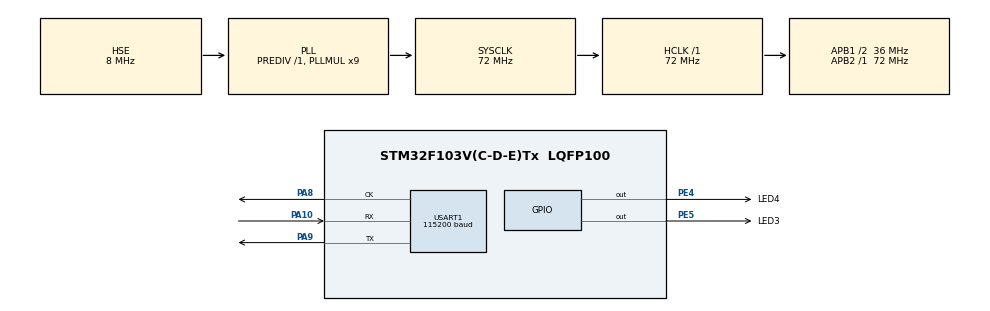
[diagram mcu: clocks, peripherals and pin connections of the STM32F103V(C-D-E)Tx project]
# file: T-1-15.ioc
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Mcu.Family=STM32F1
Mcu.Name=STM32F103V(C-D-E)Tx
Mcu.Package=LQFP100
NVIC.PriorityGroup=NVIC_PRIORITYGROUP_4
NVIC.USART1_IRQn=true\:1\:0\:true\:false\:true\:true\:true
OSC_IN.Mode=HSE-External-Oscillator
OSC_IN.Signal=RCC_OSC_IN
OSC_OUT.Mode=HSE-External-Oscillator
OSC_OUT.Signal=RCC_OSC_OUT
PA10.Mode=Synchronous
PA10.Signal=USART1_RX
PA13.Mode=Serial_Wire
PA13.Signal=SYS_JTMS-SWDIO
PA14.Mode=Serial_Wire
PA14.Signal=SYS_JTCK-SWCLK
PA8.Mode=Synchronous
PA8.Signal=USART1_CK
PA9.Mode=Synchronous
PA9.Signal=USART1_TX
PC14-OSC32_IN.Mode=LSE-External-Oscillator
PC14-OSC32_IN.Signal=RCC_OSC32_IN
PC15-OSC32_OUT.Mode=LSE-External-Oscillator
PC15-OSC32_OUT.Signal=RCC_OSC32_OUT
PE4.GPIO_Label=LED4
PE4.GPIO_Speed=GPIO_SPEED_FREQ_HIGH
PE4.PinState=GPIO_PIN_SET
PE4.Signal=GPIO_Output
PE5.GPIO_Label=LED3
PE5.GPIO_ModeDefaultOutputPP=GPIO_MODE_OUTPUT_PP
PE5.GPIO_PuPd=GPIO_NOPULL
PE5.GPIO_Speed=GPIO_SPEED_FREQ_HIGH
PE5.PinState=GPIO_PIN_SET
PE5.Signal=GPIO_Output
ProjectManager.HeapSize=0x200
ProjectManager.StackSize=0x400
ProjectManager.TargetToolchain=MDK-ARM V5
RCC.AHBFreq_Value=72000000
RCC.APB1CLKDivider=RCC_HCLK_DIV2
RCC.APB1Freq_Value=36000000
RCC.APB1TimFreq_Value=72000000
RCC.APB2Freq_Value=72000000
RCC.APB2TimFreq_Value=72000000
RCC.HCLKFreq_Value=72000000
RCC.PLLMUL=RCC_PLL_MUL9
RCC.PLLSourceVirtual=RCC_PLLSOURCE_HSE
RCC.SYSCLKFreq_VALUE=72000000
RCC.SYSCLKSource=RCC_SYSCLKSOURCE_PLLCLK
RCC.USBFreq_Value=72000000
USART1.BaudRate=115200
USART1.VirtualMode=VM_SYNC
board=custom

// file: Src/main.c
/* USER CODE BEGIN Header */
/**
  ******************************************************************************
  * @file           : main.c
  * @brief          : Main program body
  ******************************************************************************
  * @attention
  *
  * <h2><center>&copy; Copyright (c) 2022 STMicroelectronics.
  * All rights reserved.</center></h2>
  *
  * This software component is licensed by ST under BSD 3-Clause license,
  * the "License"; You may not use this file except in compliance with the
  * License. You may obtain a copy of the License at:
  *                        opensource.org/licenses/BSD-3-Clause
  *
  ******************************************************************************
  */
/* USER CODE END Header */

#include "main.h"
#include "usart.h"
#include "gpio.h"

/* USER CODE BEGIN Includes */
#include "string.h"
/* USER CODE END Includes */

/* USER CODE BEGIN PV */
uint8_t  RX_BUFF[10];
uint8_t  Rx_Flag=0;
/* USER CODE END PV */

void SystemClock_Config(void);

int main(void)
{

  /* MCU Configuration--------------------------------------------------------*/

  /* Reset of all peripherals, Initializes the Flash interface and the Systick. */
  HAL_Init();

  /* Configure the system clock */
  SystemClock_Config();

  /* Initialize all configured peripherals */
  MX_GPIO_Init();
  MX_USART1_UART_Init();
  /* USER CODE BEGIN 2 */
			/****请在以下指定位置添加功能代码1***/
			//功能：调用函数HAL_UART_Receive_IT()函数，使能串口1接收中断，并指定接收缓存数组、接收字符数。
			/****添加代码1开始***/
HAL_UART_Receive_IT (&huart1 ,RX_BUFF ,5);
			/****添加代码1结束***/
  /* USER CODE END 2 */

  /* Infinite loop */
  /* USER CODE BEGIN WHILE */
  while (1)
  {
		if(Rx_Flag ==1)
		{
			if(strstr ((const char*)RX_BUFF ,"OPEN3")!= NULL )
			{
				HAL_GPIO_WritePin (LED3_GPIO_Port ,LED3_Pin ,GPIO_PIN_RESET );
				HAL_GPIO_WritePin (LED4_GPIO_Port ,LED4_Pin ,GPIO_PIN_SET );
			}
			/****请在以下指定位置添加功能代码2***/
			//功能：1、判断接收字符串中是否含有指定字符命令；
      //			2、点亮LED4，熄灭LED3；
			/****添加代码2开始***/
       else if(strstr ((const char*)RX_BUFF ,"OPEN4")!=NULL )
          {
	          HAL_GPIO_WritePin (LED3_GPIO_Port ,LED3_Pin ,GPIO_PIN_SET );
			      HAL_GPIO_WritePin (LED4_GPIO_Port ,LED4_Pin ,GPIO_PIN_RESET );
					}
			/****添加代码2结束***/
/***********************************************************************************************/
			/****请在以下指定位置添加功能代码3***/
			//功能：若接收字符串不满足任何命令，熄灭LED3、LED4.
			/****添加代码3开始***/
       else
			 {
				 HAL_GPIO_WritePin (LED3_GPIO_Port ,LED3_Pin |LED4_Pin ,GPIO_PIN_SET );
			 }
			/****添加代码3结束***/
/***********************************************************************************************/
			/****请在以下指定位置添加功能代码4***/
			//功能：清除Rx_Flag接收完成标志位。
			/****添加代码4开始***/
      Rx_Flag =0;
			/****添加代码4结束***/
			memset (RX_BUFF ,0,10);
		}
		HAL_Delay (5);
    /* USER CODE END WHILE */

  }
}

void SystemClock_Config(void)
{
  RCC_OscInitTypeDef RCC_OscInitStruct = {0};
  RCC_ClkInitTypeDef RCC_ClkInitStruct = {0};

  /** Initializes the CPU, AHB and APB busses clocks
  */
  RCC_OscInitStruct.OscillatorType = RCC_OSCILLATORTYPE_HSE;
  RCC_OscInitStruct.HSEState = RCC_HSE_ON;
  RCC_OscInitStruct.HSEPredivValue = RCC_HSE_PREDIV_DIV1;
  RCC_OscInitStruct.HSIState = RCC_HSI_ON;
  RCC_OscInitStruct.PLL.PLLState = RCC_PLL_ON;
  RCC_OscInitStruct.PLL.PLLSource = RCC_PLLSOURCE_HSE;
  RCC_OscInitStruct.PLL.PLLMUL = RCC_PLL_MUL9;
  if (HAL_RCC_OscConfig(&RCC_OscInitStruct) != HAL_OK)
  {
    Error_Handler();
  }
  /** Initializes the CPU, AHB and APB busses clocks
  */
  RCC_ClkInitStruct.ClockType = RCC_CLOCKTYPE_HCLK|RCC_CLOCKTYPE_SYSCLK
                              |RCC_CLOCKTYPE_PCLK1|RCC_CLOCKTYPE_PCLK2;
  RCC_ClkInitStruct.SYSCLKSource = RCC_SYSCLKSOURCE_PLLCLK;
  RCC_ClkInitStruct.AHBCLKDivider = RCC_SYSCLK_DIV1;
  RCC_ClkInitStruct.APB1CLKDivider = RCC_HCLK_DIV2;
  RCC_ClkInitStruct.APB2CLKDivider = RCC_HCLK_DIV1;

  if (HAL_RCC_ClockConfig(&RCC_ClkInitStruct, FLASH_LATENCY_2) != HAL_OK)
  {
    Error_Handler();
  }
}

/* USER CODE BEGIN 4 */
void HAL_UART_RxCpltCallback(UART_HandleTypeDef *huart)
{
			/****请在以下指定位置添加功能代码5***/
			//功能：1、置位Rx_Flag接收完成标志位。
			//      2、再次调用函数HAL_UART_Receive_IT()函数，重新使能串口1接收中断，并指定接收缓存数组、接收字符数。
			/****添加代码5开始***/
Rx_Flag =1;
HAL_UART_Receive_IT (&huart1 ,RX_BUFF ,5);
			/****添加代码5结束***/
}
/* USER CODE END 4 */

void Error_Handler(void)
{
}

/************************ (C) COPYRIGHT STMicroelectronics *****END OF FILE****/
